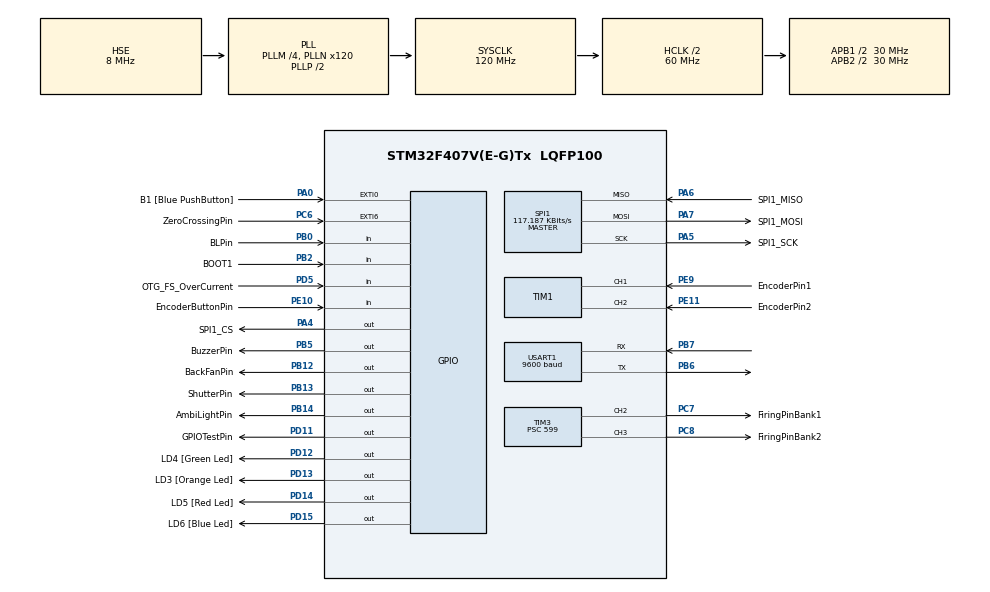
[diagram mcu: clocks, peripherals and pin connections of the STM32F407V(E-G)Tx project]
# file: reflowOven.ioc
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Mcu.Family=STM32F4
VP_TIM5_VS_ClockSourceINT.Mode=Internal
PD12.GPIO_Label=LD4 [Green Led]
PA6.Mode=Full_Duplex_Master
PH0-OSC_IN.Signal=RCC_OSC_IN
RCC.CortexFreq_Value=60000000
SPI1.VirtualType=VM_MASTER
PE11.GPIO_Label=EncoderPin2
USART1.BaudRate=9600
PD15.GPIO_Speed=GPIO_SPEED_FREQ_LOW
PB14.GPIO_Label=AmbiLightPin
PA14.GPIO_Label=SWCLK
PA7.GPIO_Mode=GPIO_MODE_AF_PP
PC6.GPIO_Label=ZeroCrossingPin
TIM1.EncoderMode=TIM_ENCODERMODE_TI12
PE10.GPIO_PuPd=GPIO_PULLUP
PB0.GPIO_Label=BLPin
PA6.GPIO_Label=SPI1_MISO
PB13.GPIO_Label=ShutterPin
PB13.Signal=GPIO_Output
PC15-OSC32_OUT.GPIO_Label=PC15-OSC32_OUT
RCC.SYSCLKSource=RCC_SYSCLKSOURCE_PLLCLK
ProjectManager.StackSize=0x400
PA6.GPIO_Mode=GPIO_MODE_AF_PP
SPI1.Mode-Full_Duplex_Master=SPI_MODE_MASTER
TIM3.OC3Preload_PWM=ENABLE
PD13.Signal=GPIO_Output
PD11.GPIO_PuPd=GPIO_PULLDOWN
PD14.GPIO_Speed=GPIO_SPEED_FREQ_LOW
NVIC.TIM5_IRQn=true\:0\:1\:false\:false\:true\:true\:true
SPI1.Direction=SPI_DIRECTION_2LINES
PD11.GPIO_Label=GPIOTestPin
RCC.HCLKFreq_Value=60000000
RCC.APB2TimFreq_Value=60000000
TIM3.Period=999
PB6.Signal=USART1_TX
PC7.Signal=S_TIM3_CH2
PB5.PinState=GPIO_PIN_SET
PB6.Mode=Asynchronous
SPI1.CalculateBaudRate=117.187 KBits/s
TIM5.TIM_MasterSlaveMode=TIM_MASTERSLAVEMODE_DISABLE
ARM.CMSIS.5.7.0.CMSISJjCORE=true
RCC.AHBFreq_Value=60000000
PH0-OSC_IN.Mode=HSE-External-Oscillator
PH0-OSC_IN.GPIO_Label=PH0-OSC_IN
RCC.HSE_VALUE=8000000
PB2.Signal=GPIO_Input
PB3.Mode=JTAG_5_pins
PA15.Mode=JTAG_5_pins
RCC.RCC_MCO1Source=RCC_MCO1SOURCE_HSE
PB12.GPIO_Label=BackFanPin
PA6.GPIO_PuPd=GPIO_NOPULL
PB4.Mode=JTAG_5_pins
PC14-OSC32_IN.Mode=LSE-External-Oscillator
PE9.Signal=S_TIM1_CH1
PA14.Mode=JTAG_5_pins
TIM3.Prescaler=599
PA5.GPIO_PuPd=GPIO_NOPULL
NVIC.TIM2_IRQn=true\:0\:1\:false\:false\:true\:true\:true
PD5.GPIO_Mode=GPIO_MODE_INPUT
PB7.Signal=USART1_RX
PD14.GPIO_PuPd=GPIO_NOPULL
PE10.Signal=GPIO_Input
PB2.GPIO_PuPd=GPIO_NOPULL
SPI1.CalculateBaudRate-Full_Duplex_Master=42.0 MBits/s
PH1-OSC_OUT.Mode=HSE-External-Oscillator
PD13.GPIO_Label=LD3 [Orange Led]
Mcu.Package=LQFP100
TIM2.Prescaler=59999
PA6.Signal=SPI1_MISO
PD12.Signal=GPIO_Output
PD5.GPIO_Label=OTG_FS_OverCurrent
PD15.GPIO_PuPd=GPIO_NOPULL
PA15.Signal=SYS_JTDI
PC6.GPIO_PuPd=GPIO_NOPULL
PB5.GPIO_Speed=GPIO_SPEED_FREQ_LOW
TIM2.TIM_MasterOutputTrigger=TIM_TRGO_UPDATE
RCC.APB2CLKDivider=RCC_HCLK_DIV2
PB5.GPIO_Label=BuzzerPin
RCC.APB1TimFreq_Value=60000000
PC14-OSC32_IN.GPIO_Label=PC14-OSC32_IN
PA6.GPIO_Speed=GPIO_SPEED_FREQ_LOW
NVIC.USART1_IRQn=true\:0\:1\:false\:false\:true\:true\:true
PE10.GPIO_Label=EncoderButtonPin
SPI1.BaudRatePrescaler=SPI_BAUDRATEPRESCALER_256
PA4.GPIO_Label=SPI1_CS
PD15.Signal=GPIO_Output
VP_TIM3_VS_ClockSourceINT.Mode=Internal
PB4.Signal=SYS_JTRST
PA5.Mode=Full_Duplex_Master
RCC.PLLSourceVirtual=RCC_PLLSOURCE_HSE
PB5.GPIO_ModeDefaultOutputPP=GPIO_MODE_OUTPUT_OD
PC15-OSC32_OUT.Mode=LSE-External-Oscillator
PD12.GPIO_Speed=GPIO_SPEED_FREQ_LOW
PD15.GPIO_Label=LD6 [Blue Led]
PA7.Mode=Full_Duplex_Master
TIM3.OCFastMode_PWM-PWM\ Generation3\ CH3=TIM_OCFAST_DISABLE
TIM3.AutoReloadPreload=TIM_AUTORELOAD_PRELOAD_DISABLE
PC8.Signal=S_TIM3_CH3
PC6.Signal=GPXTI6
PD5.Signal=GPIO_Input
RCC.APB1CLKDivider=RCC_HCLK_DIV2
PC14-OSC32_IN.Signal=RCC_OSC32_IN
SH.S_TIM3_CH3.0=TIM3_CH3,PWM Generation3 CH3
PA0-WKUP.GPIO_ModeDefaultEXTI=GPIO_MODE_EVT_RISING
PA0-WKUP.GPIO_Label=B1 [Blue PushButton]
PA0-WKUP.Signal=GPXTI0
PC8.GPIO_Label=FiringPinBank2
PA13.Signal=SYS_JTMS-SWDIO
TIM3.Channel-PWM\ Generation3\ CH3=TIM_CHANNEL_3
TIM5.TIM_MasterOutputTrigger=TIM_TRGO_UPDATE
SH.S_TIM1_CH1.0=TIM1_CH1,Encoder_Interface
PC6.GPIO_ModeDefaultEXTI=GPIO_MODE_IT_RISING
ProjectManager.TargetToolchain=STM32CubeIDE
ARM.CMSIS.5.7.0.CMSISJjDSP=Library
PD11.GPIO_Speed=GPIO_SPEED_FREQ_HIGH
PE11.Signal=S_TIM1_CH2
PC15-OSC32_OUT.Signal=RCC_OSC32_OUT
PE9.GPIO_Label=EncoderPin1
PA7.GPIO_PuPd=GPIO_NOPULL
PB14.Signal=GPIO_Output
PA5.Signal=SPI1_SCK
SH.S_TIM3_CH2.0=TIM3_CH2,PWM Generation2 CH2
board=STM32F407G-DISC1
PD13.GPIO_Speed=GPIO_SPEED_FREQ_LOW
RCC.VCOOutputFreq_Value=240000000
PA7.GPIO_Speed=GPIO_SPEED_FREQ_LOW
RCC.APB2Freq_Value=30000000
PB2.GPIO_Mode=GPIO_MODE_INPUT
SH.S_TIM1_CH2.0=TIM1_CH2,Encoder_Interface
VP_TIM2_VS_ClockSourceINT.Mode=Internal
SPI1.Mode=SPI_MODE_MASTER
TIM1.IC2Filter=10
PH1-OSC_OUT.Signal=RCC_OSC_OUT
PD13.GPIO_PuPd=GPIO_NOPULL
PD5.GPIO_PuPd=GPIO_NOPULL
RCC.AHBCLKDivider=RCC_SYSCLK_DIV2
PD14.GPIO_Label=LD5 [Red Led]
PH1-OSC_OUT.GPIO_Label=PH1-OSC_OUT
TIM2.Period=1
PA13.Mode=JTAG_5_pins
Mcu.Name=STM32F407V(E-G)Tx
NVIC.TIM1_BRK_TIM9_IRQn=true\:0\:2\:false\:false\:true\:true\:true
PA13.GPIO_Label=SYS_JTMS-SWDIO
PC7.GPIO_Label=FiringPinBank1
PD14.Signal=GPIO_Output
RCC.48MHZClocksFreq_Value=48000000
PB3.Signal=SYS_JTDO-SWO
PA4.Signal=GPIO_Output
RCC.SYSCLKFreq_VALUE=120000000
PB5.Signal=GPIO_Output
PA7.GPIO_Label=SPI1_MOSI
PA5.GPIO_Label=SPI1_SCK
TIM1.IC1Filter=10
TIM5.Prescaler=59
PD11.Signal=GPIO_Output
PB5.GPIO_PuPd=GPIO_PULLUP
TIM3.TIM_MasterSlaveMode=TIM_MASTERSLAVEMODE_DISABLE
USART1.VirtualMode=VM_ASYNC
PB7.Mode=Asynchronous
NVIC.EXTI9_5_IRQn=true\:0\:1\:true\:false\:true\:true\:true
PA14.Signal=SYS_JTCK-SWCLK
PB2.GPIO_Label=BOOT1
ProjectManager.HeapSize=0x200
RCC.HSI_VALUE=16000000
PA5.GPIO_Speed=GPIO_SPEED_FREQ_LOW
RCC.PLLQ=5
NVIC.PriorityGroup=NVIC_PRIORITYGROUP_0
TIM3.Channel-PWM\ Generation2\ CH2=TIM_CHANNEL_2
RCC.PLLM=4
RCC.PLLN=120
PA0-WKUP.GPIO_PuPd=GPIO_NOPULL
TIM5.Period=0xffffffff
TIM3.TIM_MasterOutputTrigger=TIM_TRGO_UPDATE
RCC.APB1Freq_Value=30000000
PA5.GPIO_Mode=GPIO_MODE_AF_PP
PB0.Signal=GPIO_Input
SPI1.BaudRatePrescaler-Full_Duplex_Master=SPI_BAUDRATEPRESCALER_2
PB12.Signal=GPIO_Output
PD12.GPIO_PuPd=GPIO_NOPULL
TIM3.OCMode_PWM-PWM\ Generation2\ CH2=TIM_OCMODE_PWM1
PA7.Signal=SPI1_MOSI

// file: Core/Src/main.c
/* USER CODE BEGIN Header */
/**
  ******************************************************************************
  * @file           : main.c
  * @brief          : Main program body
  ******************************************************************************
  * @attention
  *
  * <h2><center>&copy; Copyright (c) 2021 STMicroelectronics.
  * All rights reserved.</center></h2>
  *
  * This software component is licensed by ST under Ultimate Liberty license
  * SLA0044, the "License"; You may not use this file except in compliance with
  * the License. You may obtain a copy of the License at:
  *                             www.st.com/SLA0044
  *
  ******************************************************************************
  */
/* USER CODE END Header */
#include "main.h"

/* USER CODE BEGIN Includes */
#include "stdio.h"
#include "functions.h"
#define VAR_DECLS 1
#include "variables.h"
#include "stm32f4xx_it.h"
//#include "stm32f4xx_hal_uart.h"
#include "Pid.h"
#include"FLASH_SECTOR.h"
#include <stdlib.h>
#include "string.h"
#include "NextionLib.h"
#include <stdbool.h>

#define ARM_MATH_CM4
#include "arm_math.h"
#include "Buzzer.h"
// @suppress("Line comments")
/* USER CODE END Includes */

/* USER CODE BEGIN PD */
#define PID_KP  20.0f
#define PID_KI  5.2f
#define PID_KD  1.5f

#define PID_TAU 40.00f

#define PID_LIM_MIN 0.0f
#define PID_LIM_MAX  10000.0f

#define PID_LIM_MIN_INT  0.0f
#define PID_LIM_MAX_INT  2500.0f

#define SAMPLE_TIME_S 20.0f

/* Maximum run-time of simulation */
#define SIMULATION_TIME_MAX 4.0f
// Define reflow temperature profile parameters (in *C)
// If needed, define a subtraction constant to compensate for overshoot:
#define T_const 5 // From testing, overshoot was about 5-6*C

// Standard lead-free solder paste (melting point around 215*C)
//#define T_preheat 150
//#define T_soak 217
//#define T_reflow 249 - T_const

// "Low-temp" lead-free solder paste (melting point around 138*C)
#define T_preheat 90
#define T_soak 138
#define T_reflow 165 - T_const

// Test values to make sure your Reflowduino is actually working
//#define T_preheat 50
//#define T_soak 80
//#define T_reflow 100 - T_const

#define T_cool 50 // Safe temperature at which the board is "ready" (dinner bell sounds!)
#define preheat_rate 2 // Increase of 1-3 *C/s
#define soak_rate 0.7 // Increase of 0.5-1 *C/s
#define reflow_rate 2 // Increase of 1-3 *C/s
#define cool_rate -4 // Decrease of < 6 *C/s max to prevent thermal shock. Negative sign indicates decrease

//// Define PID parameters. The gains depend on your particular setup
//// but these values should be good enough to get you started
//#define PID_sampleTime 1000 // 1000ms = 1s
//// Preheat phase
//#define Kp_preheat 150
//#define Ki_preheat 0
//#define Kd_preheat 100
//// Soak phase
//#define Kp_soak 200
//#define Ki_soak 0.05
//#define Kd_soak 300
//// Reflow phase
//#define Kp_reflow 300
//#define Ki_reflow 0.05
//#define Kd_reflow 350

/* USER CODE END PD */

SPI_HandleTypeDef hspi1;

TIM_HandleTypeDef htim1;
TIM_HandleTypeDef htim2;
TIM_HandleTypeDef htim3;
TIM_HandleTypeDef htim5;

UART_HandleTypeDef huart1;

/* USER CODE BEGIN PV */
ReflowTemplate ReflowParameters;
uint8_t * p_ReflowParameters;
ReflowTemplate ReflowParametersRead;
arm_pid_instance_f32 PID;
extern uint8_t UART_Recieved_Data[5];
extern uint8_t Cmd_End[3];
extern float32_t debug;
extern uint8_t State;
uint16_t ReflowIndex;
uint8_t ReflowCurve[4000];
extern volatile float32_t pid_error;
volatile uint32_t *p_counter_us=&counter_us;
//delay 9800 OK radi, samo se dugo �?eka
const float Kp =203.00 ;			//Kp PID kontrolera 203 OK stavljen 2400 test
const float Ki=5.2;					//Ki PID kontrolera-5.2 OK stavljen 10.2 test
const float Kd=2.0;				//Kd PID kontrolera 2.04
volatile float32_t temperature;
extern volatile uint32_t PidKorekcija;
//volatile static float **p_temperatureMain=&p_temperature;
char ConsoleMSG[20];
static uint8_t boolflag=0;
static uint8_t songFlag=0;
/* USER CODE END PV */

void SystemClock_Config(void);
static void MX_GPIO_Init(void);
static void MX_SPI1_Init(void);
static void MX_TIM5_Init(void);
static void MX_TIM1_Init(void);
static void MX_TIM2_Init(void);
static void MX_USART1_UART_Init(void);
static void MX_TIM3_Init(void);
/* USER CODE BEGIN PFP */
void setReflowParameters(void);
//extern void arm_pid_init_f32(arm_pid_instance_f32 * S, int32_t resetStateFlag);
/* USER CODE END PFP */

/* USER CODE BEGIN 0 */

void sendToNum(char *obj,uint16_t value)
{

	char buffer[30];

	int lenght= sprintf(buffer, "%s=%u", obj, value);
	HAL_UART_Transmit(&huart1, (uint8_t*)buffer, lenght, 1000);
	//send end command to buffer
	HAL_UART_Transmit(&huart1, Cmd_End,3, 1000);

}

uint8_t test2[5] = {'p','0','x','x','x'};
uint32_t time_elapsed=0;

/* USER CODE END 0 */

int main(void)
{
  /* USER CODE BEGIN 1 */
	static	SETPOINT Mod1; //Thermal profile setup
	Mod1.Tpreheat_setpoint=90.00;
	Mod1.Tsoak_setpoint=200.00;
	Mod1.Treflow_setpoint=250.00;
	Mod1.Tcooldown_setpoint=30.00;
	Mod1.tPreheat=60;
	Mod1.tSoak=60;
	Mod1.tReflow=120;

extern FLAGS Flags; //Flags for status

	Flags.StartFlag=TRUE;
	Flags.initComplete=FALSE;
	Flags.preheatComplete=FALSE;
	Flags.soakComplete=FALSE;
	Flags.reflowComplete=FALSE;
	Flags.cooldownComplete=FALSE;

  /* USER CODE END 1 */

  /* MCU Configuration--------------------------------------------------------*/

  /* Reset of all peripherals, Initializes the Flash interface and the Systick. */
  HAL_Init();

  /* USER CODE BEGIN Init */

  /* if memory for Reflow parameters is OK check, if not write default values from  setReflowParameters using SaveParameters*/
  p_ReflowParameters=0x080A0000;
  if(	(*p_ReflowParameters) == 0xFF	)
	{
		setReflowParameters();
		SaveParameters();
	}
	else
	{
		 LoadParameters();
	}

  PID.Kp = ReflowParameters.KP;
  PID.Ki = ReflowParameters.Ki;
  PID.Kd = ReflowParameters.KD;
  calculateReflowCurve();
  arm_pid_init_f32(&PID, 1);
  /* USER CODE END Init */

  /* Configure the system clock */
  SystemClock_Config();

  /* Initialize all configured peripherals */
  MX_GPIO_Init();
  MX_SPI1_Init();
  MX_TIM5_Init();
  MX_TIM1_Init();
  MX_TIM2_Init();
  MX_USART1_UART_Init();
  MX_TIM3_Init();
  /* USER CODE BEGIN 2 */

	void sendToNum(char *obj,uint16_t value);

	HAL_TIM_Base_Start_IT(&htim5);
	HAL_TIM_Base_Start_IT(&htim2);
	/*Init values for PWM duty cycle*/
//TIM3->CCR2=900;
//	TIM3->CCR3=900;
	  //

	HAL_Delay(2000);
	HAL_UART_Receive_IT(&huart1, UART_Recieved_Data, 5);
	sprintf(ConsoleMSG,"IDLE");
	//State Status
	State=Initializing;
	Update_Page_0();
	Draw_Reflow_Curve();
	HAL_UART_Receive_IT(&huart1, UART_Recieved_Data, 5);
	HAL_Delay(100);
	volatile uint32_t counter_us_delay=0;

  /* USER CODE END 2 */

  /* Infinite loop */
	while (1)
	{

    /* USER CODE BEGIN 3 */
		//sing(2);
		counter_us_delay++;
		 boolflag=__HAL_GPIO_EXTI_GET_FLAG(ZeroCrossingPin_Pin);
		 HandleGui();

		 HAL_Delay(1);
		 //melody for finished procedure
		 if(	(TRUE==Flags.cooldownComplete) &&	(Finish==State)	)
		  {
			 if(0==songFlag)
			 {
			 sing(2);
			// buzz(4800,5000);
			 songFlag=1;
			 }
			else
			 {
				 //do nothing
			 }
		 }
		 else
		 {
			 //do nothing
		 }

			 if(strncmp((char *)UART_Recieved_Data, (char *)"p0xxx", 5) == 0)
			 {
					  debug = 5;
			 }
			 else
			 {

			 }

	}

  /* USER CODE END 3 */
}

void SystemClock_Config(void)
{
  RCC_OscInitTypeDef RCC_OscInitStruct = {0};
  RCC_ClkInitTypeDef RCC_ClkInitStruct = {0};

  /** Configure the main internal regulator output voltage
  */
  __HAL_RCC_PWR_CLK_ENABLE();
  __HAL_PWR_VOLTAGESCALING_CONFIG(PWR_REGULATOR_VOLTAGE_SCALE1);
  /** Initializes the RCC Oscillators according to the specified parameters
  * in the RCC_OscInitTypeDef structure.
  */
  RCC_OscInitStruct.OscillatorType = RCC_OSCILLATORTYPE_HSE;
  RCC_OscInitStruct.HSEState = RCC_HSE_ON;
  RCC_OscInitStruct.PLL.PLLState = RCC_PLL_ON;
  RCC_OscInitStruct.PLL.PLLSource = RCC_PLLSOURCE_HSE;
  RCC_OscInitStruct.PLL.PLLM = 4;
  RCC_OscInitStruct.PLL.PLLN = 120;
  RCC_OscInitStruct.PLL.PLLP = RCC_PLLP_DIV2;
  RCC_OscInitStruct.PLL.PLLQ = 5;
  if (HAL_RCC_OscConfig(&RCC_OscInitStruct) != HAL_OK)
  {
    Error_Handler();
  }
  /** Initializes the CPU, AHB and APB buses clocks
  */
  RCC_ClkInitStruct.ClockType = RCC_CLOCKTYPE_HCLK|RCC_CLOCKTYPE_SYSCLK
                              |RCC_CLOCKTYPE_PCLK1|RCC_CLOCKTYPE_PCLK2;
  RCC_ClkInitStruct.SYSCLKSource = RCC_SYSCLKSOURCE_PLLCLK;
  RCC_ClkInitStruct.AHBCLKDivider = RCC_SYSCLK_DIV2;
  RCC_ClkInitStruct.APB1CLKDivider = RCC_HCLK_DIV2;
  RCC_ClkInitStruct.APB2CLKDivider = RCC_HCLK_DIV2;

  if (HAL_RCC_ClockConfig(&RCC_ClkInitStruct, FLASH_LATENCY_1) != HAL_OK)
  {
    Error_Handler();
  }
}

static void MX_SPI1_Init(void)
{

  /* SPI1 parameter configuration*/
  hspi1.Instance = SPI1;
  hspi1.Init.Mode = SPI_MODE_MASTER;
  hspi1.Init.Direction = SPI_DIRECTION_2LINES;
  hspi1.Init.DataSize = SPI_DATASIZE_8BIT;
  hspi1.Init.CLKPolarity = SPI_POLARITY_LOW;
  hspi1.Init.CLKPhase = SPI_PHASE_1EDGE;
  hspi1.Init.NSS = SPI_NSS_SOFT;
  hspi1.Init.BaudRatePrescaler = SPI_BAUDRATEPRESCALER_256;
  hspi1.Init.FirstBit = SPI_FIRSTBIT_MSB;
  hspi1.Init.TIMode = SPI_TIMODE_DISABLE;
  hspi1.Init.CRCCalculation = SPI_CRCCALCULATION_DISABLE;
  hspi1.Init.CRCPolynomial = 10;
  if (HAL_SPI_Init(&hspi1) != HAL_OK)
  {
    Error_Handler();
  }

}

static void MX_TIM1_Init(void)
{

  TIM_Encoder_InitTypeDef sConfig = {0};
  TIM_MasterConfigTypeDef sMasterConfig = {0};

  htim1.Instance = TIM1;
  htim1.Init.Prescaler = 0;
  htim1.Init.CounterMode = TIM_COUNTERMODE_UP;
  htim1.Init.Period = 65535;
  htim1.Init.ClockDivision = TIM_CLOCKDIVISION_DIV1;
  htim1.Init.RepetitionCounter = 0;
  htim1.Init.AutoReloadPreload = TIM_AUTORELOAD_PRELOAD_DISABLE;
  sConfig.EncoderMode = TIM_ENCODERMODE_TI12;
  sConfig.IC1Polarity = TIM_ICPOLARITY_RISING;
  sConfig.IC1Selection = TIM_ICSELECTION_DIRECTTI;
  sConfig.IC1Prescaler = TIM_ICPSC_DIV1;
  sConfig.IC1Filter = 10;
  sConfig.IC2Polarity = TIM_ICPOLARITY_RISING;
  sConfig.IC2Selection = TIM_ICSELECTION_DIRECTTI;
  sConfig.IC2Prescaler = TIM_ICPSC_DIV1;
  sConfig.IC2Filter = 10;
  if (HAL_TIM_Encoder_Init(&htim1, &sConfig) != HAL_OK)
  {
    Error_Handler();
  }
  sMasterConfig.MasterOutputTrigger = TIM_TRGO_RESET;
  sMasterConfig.MasterSlaveMode = TIM_MASTERSLAVEMODE_DISABLE;
  if (HAL_TIMEx_MasterConfigSynchronization(&htim1, &sMasterConfig) != HAL_OK)
  {
    Error_Handler();
  }

}

static void MX_TIM2_Init(void)
{

  TIM_ClockConfigTypeDef sClockSourceConfig = {0};
  TIM_MasterConfigTypeDef sMasterConfig = {0};

  htim2.Instance = TIM2;
  htim2.Init.Prescaler = 59999;
  htim2.Init.CounterMode = TIM_COUNTERMODE_UP;
  htim2.Init.Period = 1;
  htim2.Init.ClockDivision = TIM_CLOCKDIVISION_DIV1;
  htim2.Init.AutoReloadPreload = TIM_AUTORELOAD_PRELOAD_DISABLE;
  if (HAL_TIM_Base_Init(&htim2) != HAL_OK)
  {
    Error_Handler();
  }
  sClockSourceConfig.ClockSource = TIM_CLOCKSOURCE_INTERNAL;
  if (HAL_TIM_ConfigClockSource(&htim2, &sClockSourceConfig) != HAL_OK)
  {
    Error_Handler();
  }
  sMasterConfig.MasterOutputTrigger = TIM_TRGO_UPDATE;
  sMasterConfig.MasterSlaveMode = TIM_MASTERSLAVEMODE_DISABLE;
  if (HAL_TIMEx_MasterConfigSynchronization(&htim2, &sMasterConfig) != HAL_OK)
  {
    Error_Handler();
  }

}

static void MX_TIM3_Init(void)
{

  TIM_ClockConfigTypeDef sClockSourceConfig = {0};
  TIM_MasterConfigTypeDef sMasterConfig = {0};
  TIM_OC_InitTypeDef sConfigOC = {0};

  htim3.Instance = TIM3;
  htim3.Init.Prescaler = 599;
  htim3.Init.CounterMode = TIM_COUNTERMODE_UP;
  htim3.Init.Period = 999;
  htim3.Init.ClockDivision = TIM_CLOCKDIVISION_DIV1;
  htim3.Init.AutoReloadPreload = TIM_AUTORELOAD_PRELOAD_DISABLE;
  if (HAL_TIM_Base_Init(&htim3) != HAL_OK)
  {
    Error_Handler();
  }
  sClockSourceConfig.ClockSource = TIM_CLOCKSOURCE_INTERNAL;
  if (HAL_TIM_ConfigClockSource(&htim3, &sClockSourceConfig) != HAL_OK)
  {
    Error_Handler();
  }
  if (HAL_TIM_PWM_Init(&htim3) != HAL_OK)
  {
    Error_Handler();
  }
  sMasterConfig.MasterOutputTrigger = TIM_TRGO_UPDATE;
  sMasterConfig.MasterSlaveMode = TIM_MASTERSLAVEMODE_DISABLE;
  if (HAL_TIMEx_MasterConfigSynchronization(&htim3, &sMasterConfig) != HAL_OK)
  {
    Error_Handler();
  }
  sConfigOC.OCMode = TIM_OCMODE_PWM1;
  sConfigOC.Pulse = 0;
  sConfigOC.OCPolarity = TIM_OCPOLARITY_HIGH;
  sConfigOC.OCFastMode = TIM_OCFAST_DISABLE;
  if (HAL_TIM_PWM_ConfigChannel(&htim3, &sConfigOC, TIM_CHANNEL_2) != HAL_OK)
  {
    Error_Handler();
  }
  if (HAL_TIM_PWM_ConfigChannel(&htim3, &sConfigOC, TIM_CHANNEL_3) != HAL_OK)
  {
    Error_Handler();
  }
  HAL_TIM_MspPostInit(&htim3);

}

static void MX_TIM5_Init(void)
{

  TIM_ClockConfigTypeDef sClockSourceConfig = {0};
  TIM_MasterConfigTypeDef sMasterConfig = {0};

  htim5.Instance = TIM5;
  htim5.Init.Prescaler = 59;
  htim5.Init.CounterMode = TIM_COUNTERMODE_UP;
  htim5.Init.Period = 0xffffffff;
  htim5.Init.ClockDivision = TIM_CLOCKDIVISION_DIV1;
  htim5.Init.AutoReloadPreload = TIM_AUTORELOAD_PRELOAD_DISABLE;
  if (HAL_TIM_Base_Init(&htim5) != HAL_OK)
  {
    Error_Handler();
  }
  sClockSourceConfig.ClockSource = TIM_CLOCKSOURCE_INTERNAL;
  if (HAL_TIM_ConfigClockSource(&htim5, &sClockSourceConfig) != HAL_OK)
  {
    Error_Handler();
  }
  sMasterConfig.MasterOutputTrigger = TIM_TRGO_UPDATE;
  sMasterConfig.MasterSlaveMode = TIM_MASTERSLAVEMODE_DISABLE;
  if (HAL_TIMEx_MasterConfigSynchronization(&htim5, &sMasterConfig) != HAL_OK)
  {
    Error_Handler();
  }

}

static void MX_USART1_UART_Init(void)
{

  huart1.Instance = USART1;
  huart1.Init.BaudRate = 9600;
  huart1.Init.WordLength = UART_WORDLENGTH_8B;
  huart1.Init.StopBits = UART_STOPBITS_1;
  huart1.Init.Parity = UART_PARITY_NONE;
  huart1.Init.Mode = UART_MODE_TX_RX;
  huart1.Init.HwFlowCtl = UART_HWCONTROL_NONE;
  huart1.Init.OverSampling = UART_OVERSAMPLING_16;
  if (HAL_UART_Init(&huart1) != HAL_OK)
  {
    Error_Handler();
  }

}

static void MX_GPIO_Init(void)
{
  GPIO_InitTypeDef GPIO_InitStruct = {0};

  /* GPIO Ports Clock Enable */
  __HAL_RCC_GPIOC_CLK_ENABLE();
  __HAL_RCC_GPIOH_CLK_ENABLE();
  __HAL_RCC_GPIOA_CLK_ENABLE();
  __HAL_RCC_GPIOB_CLK_ENABLE();
  __HAL_RCC_GPIOE_CLK_ENABLE();
  __HAL_RCC_GPIOD_CLK_ENABLE();

  /*Configure GPIO pin Output Level */
  HAL_GPIO_WritePin(SPI1_CS_GPIO_Port, SPI1_CS_Pin, GPIO_PIN_RESET);

  /*Configure GPIO pin Output Level */
  HAL_GPIO_WritePin(GPIOB, BackFanPin_Pin|ShutterPin_Pin|AmbiLightPin_Pin, GPIO_PIN_RESET);

  /*Configure GPIO pin Output Level */
  HAL_GPIO_WritePin(GPIOD, GPIOTestPin_Pin|LD4_Pin|LD3_Pin|LD5_Pin
                          |LD6_Pin, GPIO_PIN_RESET);

  /*Configure GPIO pin Output Level */
  HAL_GPIO_WritePin(BuzzerPin_GPIO_Port, BuzzerPin_Pin, GPIO_PIN_SET);

  /*Configure GPIO pin : B1_Pin */
  GPIO_InitStruct.Pin = B1_Pin;
  GPIO_InitStruct.Mode = GPIO_MODE_EVT_RISING;
  GPIO_InitStruct.Pull = GPIO_NOPULL;
  HAL_GPIO_Init(B1_GPIO_Port, &GPIO_InitStruct);

  /*Configure GPIO pin : SPI1_CS_Pin */
  GPIO_InitStruct.Pin = SPI1_CS_Pin;
  GPIO_InitStruct.Mode = GPIO_MODE_OUTPUT_PP;
  GPIO_InitStruct.Pull = GPIO_NOPULL;
  GPIO_InitStruct.Speed = GPIO_SPEED_FREQ_LOW;
  HAL_GPIO_Init(SPI1_CS_GPIO_Port, &GPIO_InitStruct);

  /*Configure GPIO pins : BLPin_Pin BOOT1_Pin */
  GPIO_InitStruct.Pin = BLPin_Pin|BOOT1_Pin;
  GPIO_InitStruct.Mode = GPIO_MODE_INPUT;
  GPIO_InitStruct.Pull = GPIO_NOPULL;
  HAL_GPIO_Init(GPIOB, &GPIO_InitStruct);

  /*Configure GPIO pin : EncoderButtonPin_Pin */
  GPIO_InitStruct.Pin = EncoderButtonPin_Pin;
  GPIO_InitStruct.Mode = GPIO_MODE_INPUT;
  GPIO_InitStruct.Pull = GPIO_PULLUP;
  HAL_GPIO_Init(EncoderButtonPin_GPIO_Port, &GPIO_InitStruct);

  /*Configure GPIO pins : BackFanPin_Pin ShutterPin_Pin AmbiLightPin_Pin */
  GPIO_InitStruct.Pin = BackFanPin_Pin|ShutterPin_Pin|AmbiLightPin_Pin;
  GPIO_InitStruct.Mode = GPIO_MODE_OUTPUT_PP;
  GPIO_InitStruct.Pull = GPIO_NOPULL;
  GPIO_InitStruct.Speed = GPIO_SPEED_FREQ_LOW;
  HAL_GPIO_Init(GPIOB, &GPIO_InitStruct);

  /*Configure GPIO pin : GPIOTestPin_Pin */
  GPIO_InitStruct.Pin = GPIOTestPin_Pin;
  GPIO_InitStruct.Mode = GPIO_MODE_OUTPUT_PP;
  GPIO_InitStruct.Pull = GPIO_PULLDOWN;
  GPIO_InitStruct.Speed = GPIO_SPEED_FREQ_HIGH;
  HAL_GPIO_Init(GPIOTestPin_GPIO_Port, &GPIO_InitStruct);

  /*Configure GPIO pins : LD4_Pin LD3_Pin LD5_Pin LD6_Pin */
  GPIO_InitStruct.Pin = LD4_Pin|LD3_Pin|LD5_Pin|LD6_Pin;
  GPIO_InitStruct.Mode = GPIO_MODE_OUTPUT_PP;
  GPIO_InitStruct.Pull = GPIO_NOPULL;
  GPIO_InitStruct.Speed = GPIO_SPEED_FREQ_LOW;
  HAL_GPIO_Init(GPIOD, &GPIO_InitStruct);

  /*Configure GPIO pin : ZeroCrossingPin_Pin */
  GPIO_InitStruct.Pin = ZeroCrossingPin_Pin;
  GPIO_InitStruct.Mode = GPIO_MODE_IT_RISING;
  GPIO_InitStruct.Pull = GPIO_NOPULL;
  HAL_GPIO_Init(ZeroCrossingPin_GPIO_Port, &GPIO_InitStruct);

  /*Configure GPIO pin : OTG_FS_OverCurrent_Pin */
  GPIO_InitStruct.Pin = OTG_FS_OverCurrent_Pin;
  GPIO_InitStruct.Mode = GPIO_MODE_INPUT;
  GPIO_InitStruct.Pull = GPIO_NOPULL;
  HAL_GPIO_Init(OTG_FS_OverCurrent_GPIO_Port, &GPIO_InitStruct);

  /*Configure GPIO pin : BuzzerPin_Pin */
  GPIO_InitStruct.Pin = BuzzerPin_Pin;
  GPIO_InitStruct.Mode = GPIO_MODE_OUTPUT_OD;
  GPIO_InitStruct.Pull = GPIO_PULLUP;
  GPIO_InitStruct.Speed = GPIO_SPEED_FREQ_LOW;
  HAL_GPIO_Init(BuzzerPin_GPIO_Port, &GPIO_InitStruct);

  /* EXTI interrupt init*/
  HAL_NVIC_SetPriority(EXTI9_5_IRQn, 0, 1);
 // HAL_NVIC_EnableIRQ(EXTI9_5_IRQn);

}

void Error_Handler(void)
{
}

/************************ (C) COPYRIGHT STMicroelectronics *****END OF FILE****/
